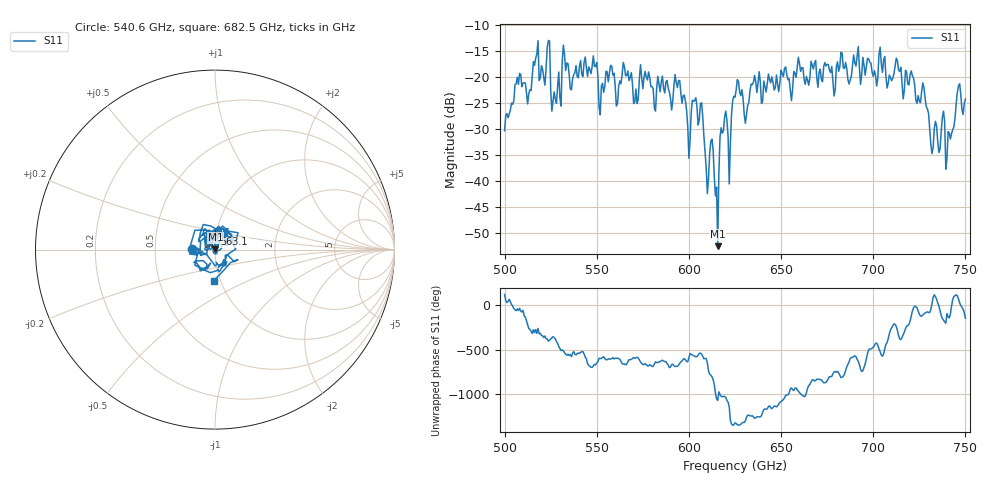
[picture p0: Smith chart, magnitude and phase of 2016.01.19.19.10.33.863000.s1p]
!Created with skrf (http://scikit-rf.org).
# GHz S RI R 50.0
!freq ReS11 ImS11
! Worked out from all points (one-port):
!   401 points, 500 GHz to 750 GHz, reference 50 ohm
!   lowest |S11| = -52.5 dB at 615.6 GHz (marker M1), VSWR 1.00, Z = 50.2 + j0.0577 ohm
!   |S11| at or under -10 dB: start of sweep to end of sweep
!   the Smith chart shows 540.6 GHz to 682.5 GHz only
!   S11 on the Smith chart (normalised r, x): 540.6 GHz: 0.77, +0.01; 563.1 GHz: 0.98, +0.17; 682.5 GHz: 0.93, -0.33
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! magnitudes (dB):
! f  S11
! 500 GHz  -30.3
! 507.5 GHz  -21.4
! 513.1 GHz  -23.2
! 516.9 GHz  -16.4
! 523.8 GHz  -13.0
! 526.9 GHz  -22.9
! 531.2 GHz  -17.0
! 540.6 GHz  -17.9
! 562.5 GHz  -20.8
! 563.1 GHz  -21.3
! 593.8 GHz  -22.1
! 600 GHz  -35.6
! 606.9 GHz  -25.0
! 609.4 GHz  -37.5
! 612.5 GHz  -32.0
! 615.6 GHz  -52.5
! 618.1 GHz  -30.8
! 621.9 GHz  -40.5
! 625 GHz  -23.9
! 656.2 GHz  -22.3
! 682.5 GHz  -15.3
! 687.5 GHz  -20.6
! 718.8 GHz  -21.4
! 727.5 GHz  -22.0
! 731.9 GHz  -34.7
! 740.6 GHz  -30.5
! 746.2 GHz  -21.7
! 750 GHz  -24.3
